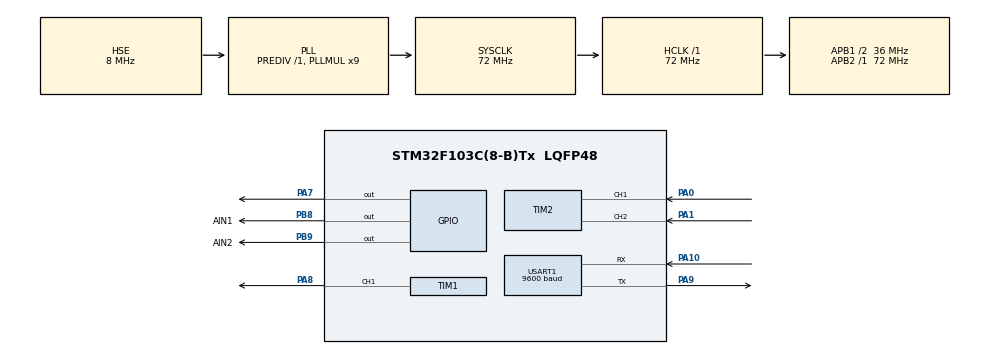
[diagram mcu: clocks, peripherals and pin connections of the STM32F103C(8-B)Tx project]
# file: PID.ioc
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Dma.Request0=USART1_RX
Dma.Request1=USART1_TX
Dma.USART1_RX.0.Direction=DMA_PERIPH_TO_MEMORY
Dma.USART1_RX.0.Instance=DMA1_Channel5
Dma.USART1_RX.0.MemDataAlignment=DMA_MDATAALIGN_BYTE
Dma.USART1_RX.0.MemInc=DMA_MINC_ENABLE
Dma.USART1_RX.0.Mode=DMA_NORMAL
Dma.USART1_RX.0.PeriphDataAlignment=DMA_PDATAALIGN_BYTE
Dma.USART1_RX.0.PeriphInc=DMA_PINC_DISABLE
Dma.USART1_RX.0.Priority=DMA_PRIORITY_LOW
Dma.USART1_TX.1.Direction=DMA_MEMORY_TO_PERIPH
Dma.USART1_TX.1.Instance=DMA1_Channel4
Dma.USART1_TX.1.MemDataAlignment=DMA_MDATAALIGN_BYTE
Dma.USART1_TX.1.MemInc=DMA_MINC_ENABLE
Dma.USART1_TX.1.Mode=DMA_NORMAL
Dma.USART1_TX.1.PeriphDataAlignment=DMA_PDATAALIGN_BYTE
Dma.USART1_TX.1.PeriphInc=DMA_PINC_DISABLE
Dma.USART1_TX.1.Priority=DMA_PRIORITY_LOW
Mcu.Family=STM32F1
Mcu.Name=STM32F103C(8-B)Tx
Mcu.Package=LQFP48
NVIC.DMA1_Channel4_IRQn=true\:0\:0\:false\:false\:true\:false\:true\:true
NVIC.DMA1_Channel5_IRQn=true\:0\:0\:false\:false\:true\:false\:true\:true
NVIC.PriorityGroup=NVIC_PRIORITYGROUP_4
NVIC.TIM1_UP_IRQn=true\:1\:0\:true\:false\:true\:true\:true\:true
NVIC.TIM2_IRQn=true\:0\:0\:false\:false\:true\:true\:true\:true
NVIC.USART1_IRQn=true\:0\:0\:false\:false\:true\:true\:true\:true
PA0-WKUP.GPIO_PuPd=GPIO_PULLUP
PA0-WKUP.Signal=S_TIM2_CH1_ETR
PA1.GPIO_PuPd=GPIO_PULLUP
PA1.Signal=S_TIM2_CH2
PA10.Mode=Asynchronous
PA10.Signal=USART1_RX
PA13.Mode=Serial_Wire
PA13.Signal=SYS_JTMS-SWDIO
PA14.Mode=Serial_Wire
PA14.Signal=SYS_JTCK-SWCLK
PA7.GPIO_PuPd=GPIO_NOPULL
PA7.PinState=GPIO_PIN_SET
PA7.Signal=GPIO_Output
PA8.Signal=S_TIM1_CH1
PA9.Mode=Asynchronous
PA9.Signal=USART1_TX
PB8.GPIO_Label=AIN1
PB8.GPIO_PuPd=GPIO_PULLDOWN
PB8.Signal=GPIO_Output
PB9.GPIO_Label=AIN2
PB9.GPIO_PuPd=GPIO_PULLDOWN
PB9.Signal=GPIO_Output
PD0-OSC_IN.Mode=HSE-External-Oscillator
PD0-OSC_IN.Signal=RCC_OSC_IN
PD1-OSC_OUT.Mode=HSE-External-Oscillator
PD1-OSC_OUT.Signal=RCC_OSC_OUT
ProjectManager.HeapSize=0x200
ProjectManager.StackSize=0x400
ProjectManager.TargetToolchain=Makefile
RCC.AHBFreq_Value=72000000
RCC.APB1CLKDivider=RCC_HCLK_DIV2
RCC.APB1Freq_Value=36000000
RCC.APB1TimFreq_Value=72000000
RCC.APB2Freq_Value=72000000
RCC.APB2TimFreq_Value=72000000
RCC.HCLKFreq_Value=72000000
RCC.PLLMUL=RCC_PLL_MUL9
RCC.PLLSourceVirtual=RCC_PLLSOURCE_HSE
RCC.SYSCLKFreq_VALUE=72000000
RCC.SYSCLKSource=RCC_SYSCLKSOURCE_PLLCLK
RCC.USBFreq_Value=72000000
SH.S_TIM1_CH1.0=TIM1_CH1,PWM Generation1 CH1
SH.S_TIM2_CH1_ETR.0=TIM2_CH1,Encoder_Interface
SH.S_TIM2_CH2.0=TIM2_CH2,Encoder_Interface
TIM1.AutoReloadPreload=TIM_AUTORELOAD_PRELOAD_ENABLE
TIM1.Channel-PWM\ Generation1\ CH1=TIM_CHANNEL_1
TIM1.Period=1000-1
TIM1.Prescaler=720-1
TIM2.EncoderMode=TIM_ENCODERMODE_TI12
USART1.BaudRate=9600
USART1.VirtualMode=VM_ASYNC
VP_TIM1_VS_ClockSourceINT.Mode=Internal
board=custom

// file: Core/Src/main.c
/* USER CODE BEGIN Header */
/**
  ******************************************************************************
  * @file           : main.c
  * @brief          : Main program body
  ******************************************************************************
  * @attention
  *
  * Copyright (c) 2026 STMicroelectronics.
  * All rights reserved.
  *
  * This software is licensed under terms that can be found in the LICENSE file
  * in the root directory of this software component.
  * If no LICENSE file comes with this software, it is provided AS-IS.
  *
  ******************************************************************************
  */
/* USER CODE END Header */
#include "main.h"
#include "dma.h"
#include "tim.h"
#include "usart.h"
#include "gpio.h"
#include "motor.h"
#include "pid.h"
#include <stdio.h>

#define MOTOR_DIRECTION_PAUSE_MS 500U
#define MOTOR_POSITION_TOLERANCE 20

/* USER CODE BEGIN PV */
static uint8_t motor_telemetry_buffer[96];
static uint32_t motor_telemetry_last_tick;
static uint8_t motor_sequence_pausing;
static uint8_t motor_next_move_clockwise;
static uint32_t motor_sequence_pause_start;

/* USER CODE END PV */

void SystemClock_Config(void);

/* USER CODE BEGIN 0 */
static void UpdateMotorSequence(void)
{
  if (motor_sequence_pausing != 0U)
  {
    if ((uint32_t)(HAL_GetTick() - motor_sequence_pause_start) >=
        MOTOR_DIRECTION_PAUSE_MS)
    {
      if (motor_next_move_clockwise != 0U)
      {
        motor_ptr->motor_position_ref -= MOTOR_ENCODER_COUNTS_PER_REV;
      }
      else
      {
        motor_ptr->motor_position_ref +=
            2 * MOTOR_ENCODER_COUNTS_PER_REV;
      }
      motor_next_move_clockwise = (uint8_t)!motor_next_move_clockwise;
      motor_sequence_pausing = 0U;
    }
    return;
  }

  int32_t position_error =
      motor_ptr->motor_position_ref - motor_ptr->motor_position_fdb;
  if (position_error >= -MOTOR_POSITION_TOLERANCE &&
      position_error <= MOTOR_POSITION_TOLERANCE)
  {
    motor_sequence_pause_start = HAL_GetTick();
    motor_sequence_pausing = 1U;
  }
}

static void SendMotorTelemetry(void)
{
  uint32_t now = HAL_GetTick();
  if ((uint32_t)(now - motor_telemetry_last_tick) < 100U)
  {
    return;
  }
  motor_telemetry_last_tick = now;

  if (HAL_UART_GetState(&huart1) != HAL_UART_STATE_READY)
  {
    return;
  }

  int length = snprintf((char *)motor_telemetry_buffer,
                        sizeof(motor_telemetry_buffer),
                        "%ld,%ld,%ld\r\n",
                        motor_ptr->motor_position_ref,
                        motor_ptr->motor_position_fdb,
                        motor_ptr->motor_dutyfactor);
  if (length < 0 || (size_t)length >= sizeof(motor_telemetry_buffer))
  {
    Error_Handler();
  }

  if (HAL_UART_Transmit_DMA(&huart1, motor_telemetry_buffer,
                            (uint16_t)length) != HAL_OK)
  {
    Error_Handler();
  }
}

/* USER CODE END 0 */

int main(void)
{

  /* MCU Configuration--------------------------------------------------------*/

  /* Reset of all peripherals, Initializes the Flash interface and the Systick. */
  HAL_Init();

  /* Configure the system clock */
  SystemClock_Config();

  /* Initialize all configured peripherals */
  MX_GPIO_Init();
  MX_DMA_Init();
  MX_TIM1_Init();
  MX_TIM2_Init();
  MX_USART1_UART_Init();
  /* USER CODE BEGIN 2 */
  MOTOR_Init(motor_ptr);
  PID_PositionParam_init(motor_ptr->pid_position_control);
  PID_SpeedParam_init(motor_ptr->pid_speed_control);
  MOTOR_Enable(motor_ptr);
  /* USER CODE END 2 */

  /* Infinite loop */
  while (1)
  {
    MOTOR_Control(motor_ptr);
    UpdateMotorSequence();
    SendMotorTelemetry();
  }
}

void SystemClock_Config(void)
{
  RCC_OscInitTypeDef RCC_OscInitStruct = {0};
  RCC_ClkInitTypeDef RCC_ClkInitStruct = {0};

  /** Initializes the RCC Oscillators according to the specified parameters
  * in the RCC_OscInitTypeDef structure.
  */
  RCC_OscInitStruct.OscillatorType = RCC_OSCILLATORTYPE_HSE;
  RCC_OscInitStruct.HSEState = RCC_HSE_ON;
  RCC_OscInitStruct.HSEPredivValue = RCC_HSE_PREDIV_DIV1;
  RCC_OscInitStruct.HSIState = RCC_HSI_ON;
  RCC_OscInitStruct.PLL.PLLState = RCC_PLL_ON;
  RCC_OscInitStruct.PLL.PLLSource = RCC_PLLSOURCE_HSE;
  RCC_OscInitStruct.PLL.PLLMUL = RCC_PLL_MUL9;
  if (HAL_RCC_OscConfig(&RCC_OscInitStruct) != HAL_OK)
  {
    Error_Handler();
  }

  /** Initializes the CPU, AHB and APB buses clocks
  */
  RCC_ClkInitStruct.ClockType = RCC_CLOCKTYPE_HCLK|RCC_CLOCKTYPE_SYSCLK
                              |RCC_CLOCKTYPE_PCLK1|RCC_CLOCKTYPE_PCLK2;
  RCC_ClkInitStruct.SYSCLKSource = RCC_SYSCLKSOURCE_PLLCLK;
  RCC_ClkInitStruct.AHBCLKDivider = RCC_SYSCLK_DIV1;
  RCC_ClkInitStruct.APB1CLKDivider = RCC_HCLK_DIV2;
  RCC_ClkInitStruct.APB2CLKDivider = RCC_HCLK_DIV1;

  if (HAL_RCC_ClockConfig(&RCC_ClkInitStruct, FLASH_LATENCY_2) != HAL_OK)
  {
    Error_Handler();
  }
}

void Error_Handler(void)
{
  __disable_irq();
  while (1)
  {
  }
}
